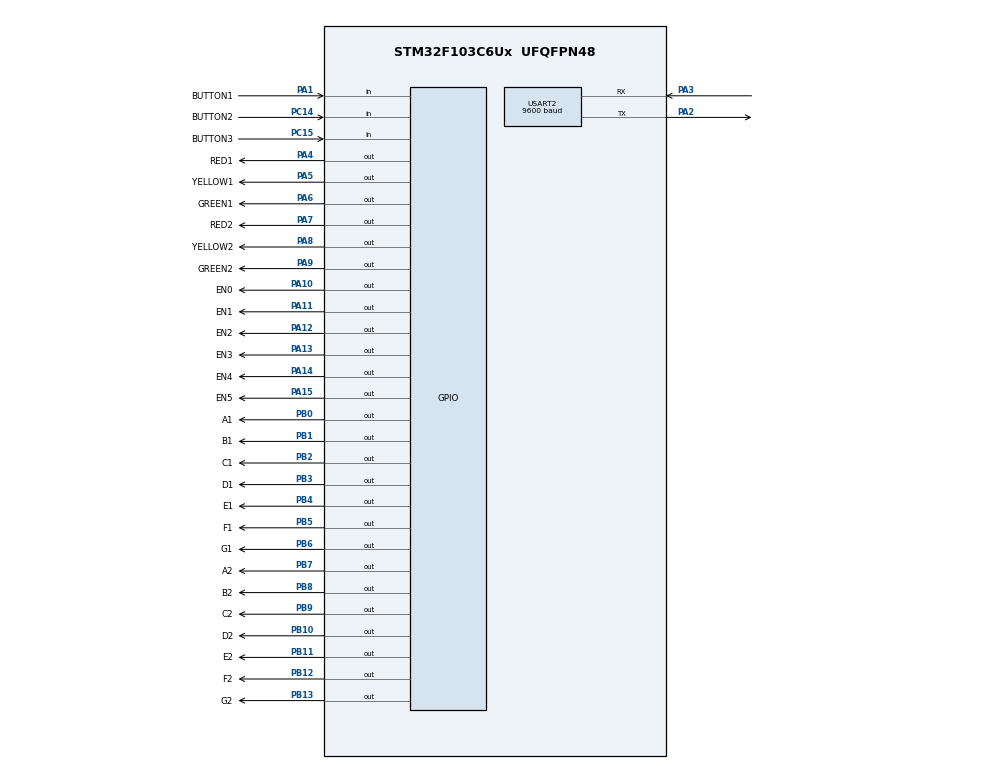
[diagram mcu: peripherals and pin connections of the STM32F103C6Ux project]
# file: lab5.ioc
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Mcu.Family=STM32F1
Mcu.Name=STM32F103C6Ux
Mcu.Package=UFQFPN48
NVIC.PriorityGroup=NVIC_PRIORITYGROUP_4
NVIC.TIM2_IRQn=true\:0\:0\:false\:false\:true\:true\:true\:true
NVIC.USART2_IRQn=true\:0\:0\:false\:false\:true\:true\:true\:true
PA1.GPIO_Label=BUTTON1
PA1.GPIO_PuPd=GPIO_PULLUP
PA1.Signal=GPIO_Input
PA10.GPIO_Label=EN0
PA10.PinState=GPIO_PIN_SET
PA10.Signal=GPIO_Output
PA11.GPIO_Label=EN1
PA11.PinState=GPIO_PIN_SET
PA11.Signal=GPIO_Output
PA12.GPIO_Label=EN2
PA12.PinState=GPIO_PIN_SET
PA12.Signal=GPIO_Output
PA13.GPIO_Label=EN3
PA13.PinState=GPIO_PIN_SET
PA13.Signal=GPIO_Output
PA14.GPIO_Label=EN4
PA14.PinState=GPIO_PIN_SET
PA14.Signal=GPIO_Output
PA15.GPIO_Label=EN5
PA15.PinState=GPIO_PIN_SET
PA15.Signal=GPIO_Output
PA2.Mode=Asynchronous
PA2.Signal=USART2_TX
PA3.Mode=Asynchronous
PA3.Signal=USART2_RX
PA4.GPIO_Label=RED1
PA4.PinState=GPIO_PIN_SET
PA4.Signal=GPIO_Output
PA5.GPIO_Label=YELLOW1
PA5.PinState=GPIO_PIN_SET
PA5.Signal=GPIO_Output
PA6.GPIO_Label=GREEN1
PA6.PinState=GPIO_PIN_SET
PA6.Signal=GPIO_Output
PA7.GPIO_Label=RED2
PA7.PinState=GPIO_PIN_SET
PA7.Signal=GPIO_Output
PA8.GPIO_Label=YELLOW2
PA8.PinState=GPIO_PIN_SET
PA8.Signal=GPIO_Output
PA9.GPIO_Label=GREEN2
PA9.PinState=GPIO_PIN_SET
PA9.Signal=GPIO_Output
PB0.GPIO_Label=A1
PB0.Signal=GPIO_Output
PB1.GPIO_Label=B1
PB1.Signal=GPIO_Output
PB10.GPIO_Label=D2
PB10.Signal=GPIO_Output
PB11.GPIO_Label=E2
PB11.Signal=GPIO_Output
PB12.GPIO_Label=F2
PB12.Signal=GPIO_Output
PB13.GPIO_Label=G2
PB13.Signal=GPIO_Output
PB2.GPIO_Label=C1
PB2.Signal=GPIO_Output
PB3.GPIO_Label=D1
PB3.Signal=GPIO_Output
PB4.GPIO_Label=E1
PB4.Signal=GPIO_Output
PB5.GPIO_Label=F1
PB5.Signal=GPIO_Output
PB6.GPIO_Label=G1
PB6.Signal=GPIO_Output
PB7.GPIO_Label=A2
PB7.Signal=GPIO_Output
PB8.GPIO_Label=B2
PB8.Signal=GPIO_Output
PB9.GPIO_Label=C2
PB9.Signal=GPIO_Output
PC14-OSC32_IN.GPIO_Label=BUTTON2
PC14-OSC32_IN.GPIO_PuPd=GPIO_PULLUP
PC14-OSC32_IN.Signal=GPIO_Input
PC15-OSC32_OUT.GPIO_Label=BUTTON3
PC15-OSC32_OUT.GPIO_PuPd=GPIO_PULLUP
PC15-OSC32_OUT.Signal=GPIO_Input
ProjectManager.HeapSize=0x200
ProjectManager.StackSize=0x400
ProjectManager.TargetToolchain=STM32CubeIDE
RCC.APB1Freq_Value=8000000
RCC.APB2Freq_Value=8000000
TIM2.Period=10
TIM2.Prescaler=7999
USART2.BaudRate=9600
USART2.VirtualMode=VM_ASYNC
VP_SYS_VS_ND.Mode=No_Debug
VP_TIM2_VS_ClockSourceINT.Mode=Internal
board=custom

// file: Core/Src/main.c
/* USER CODE BEGIN Header */
/**
  ******************************************************************************
  * @file           : main.c
  * @brief          : Main program body
  ******************************************************************************
  * @attention
  *
  * <h2><center>&copy; Copyright (c) 2023 STMicroelectronics.
  * All rights reserved.</center></h2>
  *
  * This software component is licensed by ST under BSD 3-Clause license,
  * the "License"; You may not use this file except in compliance with the
  * License. You may obtain a copy of the License at:
  *                        opensource.org/licenses/BSD-3-Clause
  *
  ******************************************************************************
  */
/* USER CODE END Header */
#include "main.h"

/* USER CODE BEGIN Includes */
#include <auto.h>
#include <manual.h>
#include "scheduler.h"
#include <stdio.h>
/* USER CODE END Includes */

TIM_HandleTypeDef htim2;

UART_HandleTypeDef huart2;

void SystemClock_Config(void);
static void MX_GPIO_Init(void);
static void MX_TIM2_Init(void);
static void MX_USART2_UART_Init(void);

int main(void)
{

  /* MCU Configuration--------------------------------------------------------*/

  /* Reset of all peripherals, Initializes the Flash interface and the Systick. */
  HAL_Init();

  /* Configure the system clock */
  SystemClock_Config();

  /* Initialize all configured peripherals */
  MX_GPIO_Init();
  MX_TIM2_Init();
  MX_USART2_UART_Init();
  /* USER CODE BEGIN 2 */
  HAL_TIM_Base_Start_IT (& htim2 ) ;

  /* USER CODE END 2 */

  /* Infinite loop */
  /* USER CODE BEGIN WHILE */
  SCH_Init();
//
//  SCH_Add_Task(auto_run, 100, 25);
//  SCH_Add_Task(manual_run, 210, 25);
//  SCH_Add_Task(led3, 320, 150);
//  SCH_Add_Task(led4, 430, 200);
//  SCH_Add_Task(led5, 540, 250);

	SCH_Add_Task(seg_fsm, 100, 50);
	SCH_Add_Task(RED_GREEN, 110, 100);
  setValues();
  displayFirstLedCouple(LED_INIT);
  while (1)
  {
    /* USER CODE END WHILE */

    /* USER CODE BEGIN 3 */
//	  auto_run();
//	  manual_run();
	  SCH_Dispatch_Task();
		HAL_PWR_EnterSLEEPMode(PWR_MAINREGULATOR_ON, PWR_SLEEPENTRY_WFI);
  }
  /* USER CODE END 3 */
}

void SystemClock_Config(void)
{
  RCC_OscInitTypeDef RCC_OscInitStruct = {0};
  RCC_ClkInitTypeDef RCC_ClkInitStruct = {0};

  /** Initializes the RCC Oscillators according to the specified parameters
  * in the RCC_OscInitTypeDef structure.
  */
  RCC_OscInitStruct.OscillatorType = RCC_OSCILLATORTYPE_HSI;
  RCC_OscInitStruct.HSIState = RCC_HSI_ON;
  RCC_OscInitStruct.HSICalibrationValue = RCC_HSICALIBRATION_DEFAULT;
  RCC_OscInitStruct.PLL.PLLState = RCC_PLL_NONE;
  if (HAL_RCC_OscConfig(&RCC_OscInitStruct) != HAL_OK)
  {
    Error_Handler();
  }
  /** Initializes the CPU, AHB and APB buses clocks
  */
  RCC_ClkInitStruct.ClockType = RCC_CLOCKTYPE_HCLK|RCC_CLOCKTYPE_SYSCLK
                              |RCC_CLOCKTYPE_PCLK1|RCC_CLOCKTYPE_PCLK2;
  RCC_ClkInitStruct.SYSCLKSource = RCC_SYSCLKSOURCE_HSI;
  RCC_ClkInitStruct.AHBCLKDivider = RCC_SYSCLK_DIV1;
  RCC_ClkInitStruct.APB1CLKDivider = RCC_HCLK_DIV1;
  RCC_ClkInitStruct.APB2CLKDivider = RCC_HCLK_DIV1;

  if (HAL_RCC_ClockConfig(&RCC_ClkInitStruct, FLASH_LATENCY_0) != HAL_OK)
  {
    Error_Handler();
  }
}

static void MX_TIM2_Init(void)
{

  TIM_ClockConfigTypeDef sClockSourceConfig = {0};
  TIM_MasterConfigTypeDef sMasterConfig = {0};

  htim2.Instance = TIM2;
  htim2.Init.Prescaler = 7999;
  htim2.Init.CounterMode = TIM_COUNTERMODE_UP;
  htim2.Init.Period = 10;
  htim2.Init.ClockDivision = TIM_CLOCKDIVISION_DIV1;
  htim2.Init.AutoReloadPreload = TIM_AUTORELOAD_PRELOAD_DISABLE;
  if (HAL_TIM_Base_Init(&htim2) != HAL_OK)
  {
    Error_Handler();
  }
  sClockSourceConfig.ClockSource = TIM_CLOCKSOURCE_INTERNAL;
  if (HAL_TIM_ConfigClockSource(&htim2, &sClockSourceConfig) != HAL_OK)
  {
    Error_Handler();
  }
  sMasterConfig.MasterOutputTrigger = TIM_TRGO_RESET;
  sMasterConfig.MasterSlaveMode = TIM_MASTERSLAVEMODE_DISABLE;
  if (HAL_TIMEx_MasterConfigSynchronization(&htim2, &sMasterConfig) != HAL_OK)
  {
    Error_Handler();
  }

}

static void MX_USART2_UART_Init(void)
{

  huart2.Instance = USART2;
  huart2.Init.BaudRate = 9600;
  huart2.Init.WordLength = UART_WORDLENGTH_8B;
  huart2.Init.StopBits = UART_STOPBITS_1;
  huart2.Init.Parity = UART_PARITY_NONE;
  huart2.Init.Mode = UART_MODE_TX_RX;
  huart2.Init.HwFlowCtl = UART_HWCONTROL_NONE;
  huart2.Init.OverSampling = UART_OVERSAMPLING_16;
  if (HAL_UART_Init(&huart2) != HAL_OK)
  {
    Error_Handler();
  }

}

static void MX_GPIO_Init(void)
{
  GPIO_InitTypeDef GPIO_InitStruct = {0};

  /* GPIO Ports Clock Enable */
  __HAL_RCC_GPIOC_CLK_ENABLE();
  __HAL_RCC_GPIOA_CLK_ENABLE();
  __HAL_RCC_GPIOB_CLK_ENABLE();

  /*Configure GPIO pin Output Level */
  HAL_GPIO_WritePin(GPIOA, RED1_Pin|YELLOW1_Pin|GREEN1_Pin|RED2_Pin
                          |YELLOW2_Pin|GREEN2_Pin|EN0_Pin|EN1_Pin
                          |EN2_Pin|EN3_Pin|EN4_Pin|EN5_Pin, GPIO_PIN_SET);

  /*Configure GPIO pin Output Level */
  HAL_GPIO_WritePin(GPIOB, A1_Pin|B1_Pin|C1_Pin|D2_Pin
                          |E2_Pin|F2_Pin|G2_Pin|D1_Pin
                          |E1_Pin|F1_Pin|G1_Pin|A2_Pin
                          |B2_Pin|C2_Pin, GPIO_PIN_RESET);

  /*Configure GPIO pins : BUTTON2_Pin BUTTON3_Pin */
  GPIO_InitStruct.Pin = BUTTON2_Pin|BUTTON3_Pin;
  GPIO_InitStruct.Mode = GPIO_MODE_INPUT;
  GPIO_InitStruct.Pull = GPIO_PULLUP;
  HAL_GPIO_Init(GPIOC, &GPIO_InitStruct);

  /*Configure GPIO pin : BUTTON1_Pin */
  GPIO_InitStruct.Pin = BUTTON1_Pin;
  GPIO_InitStruct.Mode = GPIO_MODE_INPUT;
  GPIO_InitStruct.Pull = GPIO_PULLUP;
  HAL_GPIO_Init(BUTTON1_GPIO_Port, &GPIO_InitStruct);

  /*Configure GPIO pins : RED1_Pin YELLOW1_Pin GREEN1_Pin RED2_Pin
                           YELLOW2_Pin GREEN2_Pin EN0_Pin EN1_Pin
                           EN2_Pin EN3_Pin EN4_Pin EN5_Pin */
  GPIO_InitStruct.Pin = RED1_Pin|YELLOW1_Pin|GREEN1_Pin|RED2_Pin
                          |YELLOW2_Pin|GREEN2_Pin|EN0_Pin|EN1_Pin
                          |EN2_Pin|EN3_Pin|EN4_Pin|EN5_Pin;
  GPIO_InitStruct.Mode = GPIO_MODE_OUTPUT_PP;
  GPIO_InitStruct.Pull = GPIO_NOPULL;
  GPIO_InitStruct.Speed = GPIO_SPEED_FREQ_LOW;
  HAL_GPIO_Init(GPIOA, &GPIO_InitStruct);

  /*Configure GPIO pins : A1_Pin B1_Pin C1_Pin D2_Pin
                           E2_Pin F2_Pin G2_Pin D1_Pin
                           E1_Pin F1_Pin G1_Pin A2_Pin
                           B2_Pin C2_Pin */
  GPIO_InitStruct.Pin = A1_Pin|B1_Pin|C1_Pin|D2_Pin
                          |E2_Pin|F2_Pin|G2_Pin|D1_Pin
                          |E1_Pin|F1_Pin|G1_Pin|A2_Pin
                          |B2_Pin|C2_Pin;
  GPIO_InitStruct.Mode = GPIO_MODE_OUTPUT_PP;
  GPIO_InitStruct.Pull = GPIO_NOPULL;
  GPIO_InitStruct.Speed = GPIO_SPEED_FREQ_LOW;
  HAL_GPIO_Init(GPIOB, &GPIO_InitStruct);

}

/* USER CODE BEGIN 4 */
void HAL_TIM_PeriodElapsedCallback( TIM_HandleTypeDef * htim ) {
	update_time();
	SCH_Update();
	getKeyInput();
}
/* USER CODE END 4 */

void Error_Handler(void)
{
  __disable_irq();
  while (1)
  {
  }
}

/************************ (C) COPYRIGHT STMicroelectronics *****END OF FILE****/
